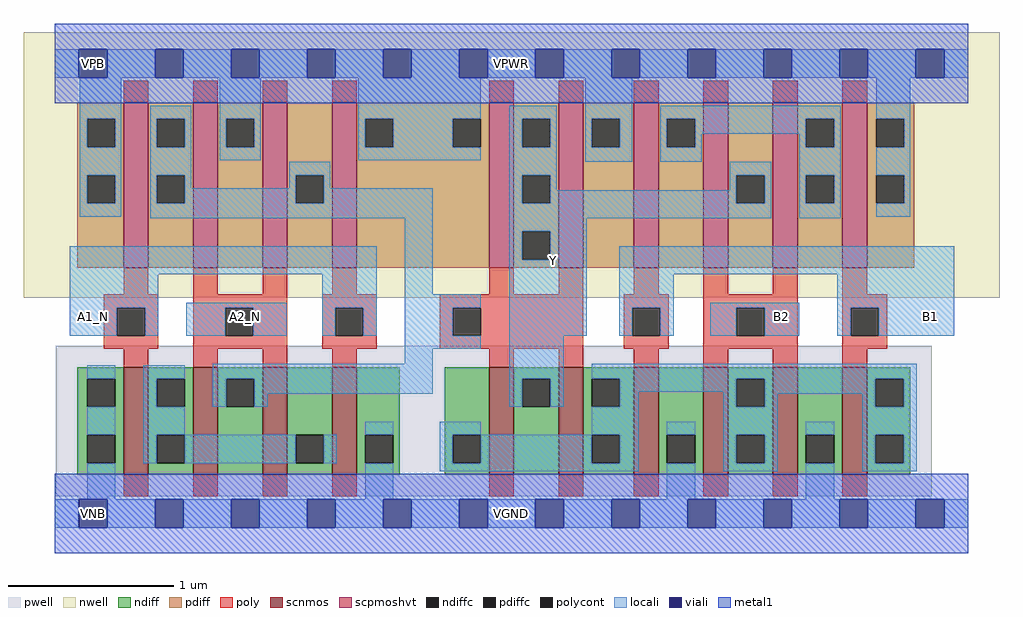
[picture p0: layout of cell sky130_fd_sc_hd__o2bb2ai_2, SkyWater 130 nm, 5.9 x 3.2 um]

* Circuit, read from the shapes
.subckt sky130_fd_sc_hd__o2bb2ai_2 A1_N A2_N B1 B2 VGND VNB VPB VPWR Y
XM1 n1 A1_N VGND VNB sky130_fd_pr__nfet_01v8 w=0.65 l=0.15 m=2
XM2 n2 A2_N n1 VNB sky130_fd_pr__nfet_01v8 w=0.65 l=0.15 m=2
XM3 Y n2 n3 VNB sky130_fd_pr__nfet_01v8 w=0.65 l=0.15 m=2
XM4 VGND B1 n3 VNB sky130_fd_pr__nfet_01v8 w=0.65 l=0.15 m=2
XM5 n3 B2 VGND VNB sky130_fd_pr__nfet_01v8 w=0.65 l=0.15 m=2
XM6 n2 A1_N VPWR VPB sky130_fd_pr__pfet_01v8_hvt w=1 l=0.15 m=2
XM7 VPWR A2_N n2 VPB sky130_fd_pr__pfet_01v8_hvt w=1 l=0.15 m=2
XM8 Y n2 VPWR VPB sky130_fd_pr__pfet_01v8_hvt w=1 l=0.15 m=2
XM9 n4 B1 VPWR VPB sky130_fd_pr__pfet_01v8_hvt w=1 l=0.15 m=2
XM10 Y B2 n4 VPB sky130_fd_pr__pfet_01v8_hvt w=1 l=0.15 m=2
.ends

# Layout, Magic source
magic
tech sky130B
magscale 1 2
<< nwell >>
rect -38 261 1142 582
<< pwell >>
rect 1 21 1060 203
rect 30 -17 64 21
<< scnmos >>
rect 83 47 113 177
rect 167 47 197 177
rect 251 47 281 177
rect 335 47 365 177
rect 525 47 555 177
rect 609 47 639 177
rect 700 47 730 177
rect 784 47 814 177
rect 868 47 898 177
rect 952 47 982 177
<< scpmoshvt >>
rect 83 297 113 497
rect 167 297 197 497
rect 251 297 281 497
rect 335 297 365 497
rect 525 297 555 497
rect 609 297 639 497
rect 700 297 730 497
rect 784 297 814 497
rect 868 297 898 497
rect 952 297 982 497
<< ndiff >>
rect 27 163 83 177
rect 27 129 39 163
rect 73 129 83 163
rect 27 95 83 129
rect 27 61 39 95
rect 73 61 83 95
rect 27 47 83 61
rect 113 163 167 177
rect 113 129 123 163
rect 157 129 167 163
rect 113 95 167 129
rect 113 61 123 95
rect 157 61 167 95
rect 113 47 167 61
rect 197 163 251 177
rect 197 129 207 163
rect 241 129 251 163
rect 197 47 251 129
rect 281 95 335 177
rect 281 61 291 95
rect 325 61 335 95
rect 281 47 335 61
rect 365 95 417 177
rect 365 61 375 95
rect 409 61 417 95
rect 365 47 417 61
rect 471 95 525 177
rect 471 61 481 95
rect 515 61 525 95
rect 471 47 525 61
rect 555 163 609 177
rect 555 129 565 163
rect 599 129 609 163
rect 555 47 609 129
rect 639 163 700 177
rect 639 129 649 163
rect 683 129 700 163
rect 639 95 700 129
rect 639 61 649 95
rect 683 61 700 95
rect 639 47 700 61
rect 730 95 784 177
rect 730 61 740 95
rect 774 61 784 95
rect 730 47 784 61
rect 814 163 868 177
rect 814 129 824 163
rect 858 129 868 163
rect 814 95 868 129
rect 814 61 824 95
rect 858 61 868 95
rect 814 47 868 61
rect 898 95 952 177
rect 898 61 908 95
rect 942 61 952 95
rect 898 47 952 61
rect 982 163 1034 177
rect 982 129 992 163
rect 1026 129 1034 163
rect 982 95 1034 129
rect 982 61 992 95
rect 1026 61 1034 95
rect 982 47 1034 61
<< pdiff >>
rect 27 477 83 497
rect 27 443 39 477
rect 73 443 83 477
rect 27 409 83 443
rect 27 375 39 409
rect 73 375 83 409
rect 27 297 83 375
rect 113 477 167 497
rect 113 443 123 477
rect 157 443 167 477
rect 113 409 167 443
rect 113 375 123 409
rect 157 375 167 409
rect 113 297 167 375
rect 197 477 251 497
rect 197 443 207 477
rect 241 443 251 477
rect 197 297 251 443
rect 281 409 335 497
rect 281 375 291 409
rect 325 375 335 409
rect 281 297 335 375
rect 365 477 525 497
rect 365 443 375 477
rect 409 443 481 477
rect 515 443 525 477
rect 365 297 525 443
rect 555 477 609 497
rect 555 443 565 477
rect 599 443 609 477
rect 555 409 609 443
rect 555 375 565 409
rect 599 375 609 409
rect 555 341 609 375
rect 555 307 565 341
rect 599 307 609 341
rect 555 297 609 307
rect 639 477 700 497
rect 639 443 649 477
rect 683 443 700 477
rect 639 297 700 443
rect 730 477 784 497
rect 730 443 740 477
rect 774 443 784 477
rect 730 297 784 443
rect 814 409 868 497
rect 814 375 824 409
rect 858 375 868 409
rect 814 297 868 375
rect 898 477 952 497
rect 898 443 908 477
rect 942 443 952 477
rect 898 409 952 443
rect 898 375 908 409
rect 942 375 952 409
rect 898 297 952 375
rect 982 477 1039 497
rect 982 443 993 477
rect 1027 443 1039 477
rect 982 409 1039 443
rect 982 375 993 409
rect 1027 375 1039 409
rect 982 297 1039 375
<< ndiffc >>
rect 39 129 73 163
rect 39 61 73 95
rect 123 129 157 163
rect 123 61 157 95
rect 207 129 241 163
rect 291 61 325 95
rect 375 61 409 95
rect 481 61 515 95
rect 565 129 599 163
rect 649 129 683 163
rect 649 61 683 95
rect 740 61 774 95
rect 824 129 858 163
rect 824 61 858 95
rect 908 61 942 95
rect 992 129 1026 163
rect 992 61 1026 95
<< pdiffc >>
rect 39 443 73 477
rect 39 375 73 409
rect 123 443 157 477
rect 123 375 157 409
rect 207 443 241 477
rect 291 375 325 409
rect 375 443 409 477
rect 481 443 515 477
rect 565 443 599 477
rect 565 375 599 409
rect 565 307 599 341
rect 649 443 683 477
rect 740 443 774 477
rect 824 375 858 409
rect 908 443 942 477
rect 908 375 942 409
rect 993 443 1027 477
rect 993 375 1027 409
<< poly >>
rect 83 497 113 523
rect 167 497 197 523
rect 251 497 281 523
rect 335 497 365 523
rect 525 497 555 523
rect 609 497 639 523
rect 700 497 730 523
rect 784 497 814 523
rect 868 497 898 523
rect 952 497 982 523
rect 83 265 113 297
rect 167 265 197 297
rect 251 265 281 297
rect 335 265 365 297
rect 525 265 555 297
rect 609 265 639 297
rect 700 265 730 297
rect 784 265 814 297
rect 868 265 898 297
rect 59 249 125 265
rect 59 215 75 249
rect 109 215 125 249
rect 59 199 125 215
rect 167 249 281 265
rect 167 215 206 249
rect 240 215 281 249
rect 167 199 281 215
rect 323 249 389 265
rect 323 215 339 249
rect 373 215 389 249
rect 323 199 389 215
rect 465 249 639 265
rect 465 215 481 249
rect 515 215 639 249
rect 465 199 639 215
rect 688 249 742 265
rect 688 215 698 249
rect 732 215 742 249
rect 688 199 742 215
rect 784 249 898 265
rect 784 215 824 249
rect 858 215 898 249
rect 784 199 898 215
rect 83 177 113 199
rect 167 177 197 199
rect 251 177 281 199
rect 335 177 365 199
rect 525 177 555 199
rect 609 177 639 199
rect 700 177 730 199
rect 784 177 814 199
rect 868 177 898 199
rect 952 265 982 297
rect 952 249 1006 265
rect 952 215 962 249
rect 996 215 1006 249
rect 952 199 1006 215
rect 952 177 982 199
rect 83 21 113 47
rect 167 21 197 47
rect 251 21 281 47
rect 335 21 365 47
rect 525 21 555 47
rect 609 21 639 47
rect 700 21 730 47
rect 784 21 814 47
rect 868 21 898 47
rect 952 21 982 47
<< polycont >>
rect 75 215 109 249
rect 206 215 240 249
rect 339 215 373 249
rect 481 215 515 249
rect 698 215 732 249
rect 824 215 858 249
rect 962 215 996 249
<< locali >>
rect 0 527 29 561
rect 63 527 121 561
rect 155 527 213 561
rect 247 527 305 561
rect 339 527 397 561
rect 431 527 489 561
rect 523 527 581 561
rect 615 527 673 561
rect 707 527 765 561
rect 799 527 857 561
rect 891 527 949 561
rect 983 527 1041 561
rect 1075 527 1104 561
rect 30 477 80 527
rect 30 443 39 477
rect 73 443 80 477
rect 30 409 80 443
rect 30 375 39 409
rect 73 375 80 409
rect 30 359 80 375
rect 115 477 165 493
rect 115 443 123 477
rect 157 443 165 477
rect 115 409 165 443
rect 199 477 249 527
rect 199 443 207 477
rect 241 443 249 477
rect 199 427 249 443
rect 367 477 515 527
rect 367 443 375 477
rect 409 443 481 477
rect 367 427 515 443
rect 549 477 607 493
rect 549 443 565 477
rect 599 443 607 477
rect 115 375 123 409
rect 157 393 165 409
rect 283 409 333 425
rect 283 393 291 409
rect 157 375 291 393
rect 325 393 333 409
rect 549 409 607 443
rect 641 477 698 527
rect 641 443 649 477
rect 683 443 698 477
rect 641 425 698 443
rect 732 477 950 493
rect 732 443 740 477
rect 774 459 908 477
rect 774 443 782 459
rect 732 425 782 443
rect 900 443 908 459
rect 942 443 950 477
rect 325 375 457 393
rect 115 357 457 375
rect 18 289 389 323
rect 18 249 125 289
rect 18 215 75 249
rect 109 215 125 249
rect 159 249 280 255
rect 159 215 206 249
rect 240 215 280 249
rect 323 249 389 289
rect 323 215 339 249
rect 373 215 389 249
rect 423 265 457 357
rect 549 375 565 409
rect 599 391 607 409
rect 816 409 866 425
rect 816 391 824 409
rect 599 375 824 391
rect 858 375 866 409
rect 549 357 866 375
rect 900 409 950 443
rect 900 375 908 409
rect 942 375 950 409
rect 900 357 950 375
rect 993 477 1034 527
rect 1027 443 1034 477
rect 993 409 1034 443
rect 1027 375 1034 409
rect 993 359 1034 375
rect 549 341 643 357
rect 549 307 565 341
rect 599 307 643 341
rect 423 249 515 265
rect 423 215 481 249
rect 423 199 515 215
rect 549 215 643 307
rect 682 289 1087 323
rect 682 249 748 289
rect 682 215 698 249
rect 732 215 748 249
rect 792 249 900 255
rect 792 215 824 249
rect 858 215 900 249
rect 946 249 1087 289
rect 946 215 962 249
rect 996 215 1087 249
rect 423 181 457 199
rect 39 163 73 179
rect 39 95 73 129
rect 107 163 157 179
rect 107 129 123 163
rect 191 163 457 181
rect 191 129 207 163
rect 241 145 457 163
rect 549 163 615 215
rect 241 129 257 145
rect 549 129 565 163
rect 599 129 615 163
rect 649 163 1042 181
rect 683 147 824 163
rect 683 129 706 147
rect 107 95 157 129
rect 375 95 409 111
rect 107 61 123 95
rect 157 61 291 95
rect 325 61 341 95
rect 39 17 73 61
rect 375 17 409 61
rect 465 95 515 111
rect 649 95 706 129
rect 808 129 824 147
rect 858 145 992 163
rect 858 129 874 145
rect 465 61 481 95
rect 515 61 649 95
rect 683 61 706 95
rect 465 51 706 61
rect 740 95 774 111
rect 740 17 774 61
rect 808 95 874 129
rect 976 129 992 145
rect 1026 129 1042 163
rect 808 61 824 95
rect 858 61 874 95
rect 808 51 874 61
rect 908 95 942 111
rect 908 17 942 61
rect 976 95 1042 129
rect 976 61 992 95
rect 1026 61 1042 95
rect 976 51 1042 61
rect 0 -17 29 17
rect 63 -17 121 17
rect 155 -17 213 17
rect 247 -17 305 17
rect 339 -17 397 17
rect 431 -17 489 17
rect 523 -17 581 17
rect 615 -17 673 17
rect 707 -17 765 17
rect 799 -17 857 17
rect 891 -17 949 17
rect 983 -17 1041 17
rect 1075 -17 1104 17
<< viali >>
rect 29 527 63 561
rect 121 527 155 561
rect 213 527 247 561
rect 305 527 339 561
rect 397 527 431 561
rect 489 527 523 561
rect 581 527 615 561
rect 673 527 707 561
rect 765 527 799 561
rect 857 527 891 561
rect 949 527 983 561
rect 1041 527 1075 561
rect 29 -17 63 17
rect 121 -17 155 17
rect 213 -17 247 17
rect 305 -17 339 17
rect 397 -17 431 17
rect 489 -17 523 17
rect 581 -17 615 17
rect 673 -17 707 17
rect 765 -17 799 17
rect 857 -17 891 17
rect 949 -17 983 17
rect 1041 -17 1075 17
<< metal1 >>
rect 0 561 1104 592
rect 0 527 29 561
rect 63 527 121 561
rect 155 527 213 561
rect 247 527 305 561
rect 339 527 397 561
rect 431 527 489 561
rect 523 527 581 561
rect 615 527 673 561
rect 707 527 765 561
rect 799 527 857 561
rect 891 527 949 561
rect 983 527 1041 561
rect 1075 527 1104 561
rect 0 496 1104 527
rect 0 17 1104 48
rect 0 -17 29 17
rect 63 -17 121 17
rect 155 -17 213 17
rect 247 -17 305 17
rect 339 -17 397 17
rect 431 -17 489 17
rect 523 -17 581 17
rect 615 -17 673 17
rect 707 -17 765 17
rect 799 -17 857 17
rect 891 -17 949 17
rect 983 -17 1041 17
rect 1075 -17 1104 17
rect 0 -48 1104 -17
<< labels >>
flabel locali s 862 221 896 255 0 FreeSans 400 180 0 0 B2
port 4 nsew signal input
flabel locali s 586 289 620 323 0 FreeSans 400 0 0 0 Y
port 9 nsew signal output
flabel locali s 30 221 64 255 0 FreeSans 400 0 0 0 A1_N
port 1 nsew signal input
flabel locali s 214 221 248 255 0 FreeSans 400 0 0 0 A2_N
port 2 nsew signal input
flabel locali s 1041 221 1075 255 0 FreeSans 400 180 0 0 B1
port 3 nsew signal input
flabel pwell s 30 -17 64 17 0 FreeSans 200 0 0 0 VNB
port 6 nsew ground bidirectional
flabel nwell s 30 527 64 561 0 FreeSans 200 0 0 0 VPB
port 7 nsew power bidirectional
flabel metal1 s 30 -17 64 17 0 FreeSans 200 0 0 0 VGND
port 5 nsew ground bidirectional abutment
flabel metal1 s 30 527 64 561 0 FreeSans 200 0 0 0 VPWR
port 8 nsew power bidirectional abutment
rlabel comment s 0 0 0 0 4 o2bb2ai_2
rlabel metal1 s 0 -48 1104 48 1 VGND
port 5 nsew ground bidirectional abutment
rlabel metal1 s 0 496 1104 592 1 VPWR
port 8 nsew power bidirectional abutment
<< properties >>
string FIXED_BBOX 0 0 1104 544
string GDS_END 1245222
string GDS_FILE $PDKPATH/libs.ref/sky130_fd_sc_hd/gds/sky130_fd_sc_hd.gds
string GDS_START 1236724
string LEFclass CORE
string LEFsite unithd
string LEFsymmetry X Y R90
string path 0.000 0.000 5.520 0.000 
<< end >>
